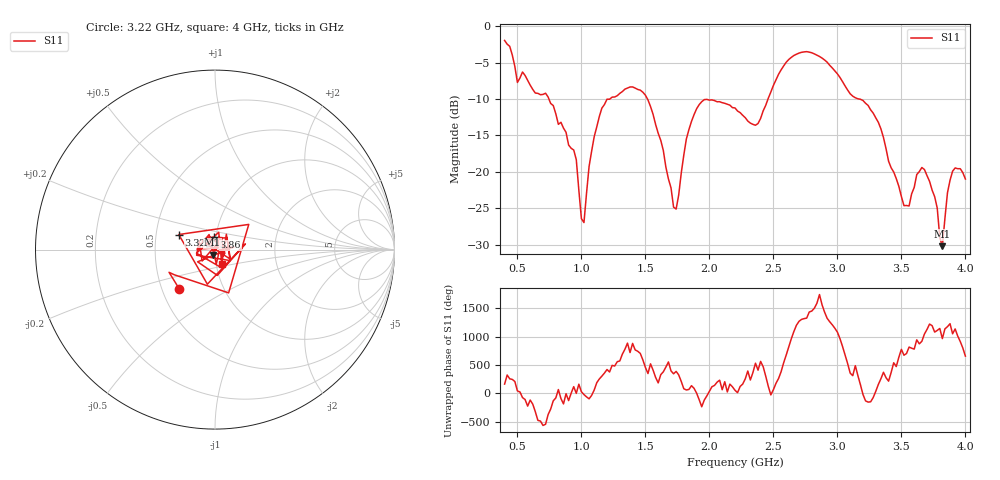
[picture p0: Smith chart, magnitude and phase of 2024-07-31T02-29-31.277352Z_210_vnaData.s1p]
!Created with skrf (http://scikit-rf.org).
# Hz S RI R 50.0
!freq ReS11 ImS11
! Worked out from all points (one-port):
!   181 points, 400 MHz to 4 GHz, reference 50 ohm
!   lowest |S11| = -30.2 dB at 3.82 GHz (marker M1), VSWR 1.06, Z = 48.6 - j2.69 ohm
!   |S11| at or under -10 dB: 746.2 MHz to 1.222 GHz (476 MHz wide, 48.4 % of centre); 1.516 GHz to 2.458 GHz (941.6 MHz wide, 47.4 % of centre); 3.17 GHz to end of sweep
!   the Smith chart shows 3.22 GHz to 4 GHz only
!   S11 on the Smith chart (normalised r, x): 3.22 GHz: 0.61, -0.29; 3.32 GHz: 0.66, +0.12; 3.86 GHz: 0.98, +0.14; 4 GHz: 1.06, -0.17
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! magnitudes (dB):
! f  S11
! 400 MHz  -2.0
! 500 MHz  -7.7
! 720 MHz  -9.2
! 860 MHz  -14.0
! 960 MHz  -18.3
! 1 GHz  -26.4
! 1.02 GHz  -27.0
! 1.06 GHz  -19.2
! 1.14 GHz  -12.4
! 1.3 GHz  -9.2
! 1.5 GHz  -9.5
! 1.72 GHz  -24.8
! 1.76 GHz  -23.2
! 1.82 GHz  -15.5
! 1.92 GHz  -10.8
! 2.2 GHz  -11.2
! 2.38 GHz  -13.4
! 2.66 GHz  -4.0
! 3.1 GHz  -9.3
! 3.22 GHz  -10.6
! 3.32 GHz  -13.2
! 3.56 GHz  -24.7
! 3.68 GHz  -19.7
! 3.76 GHz  -23.4
! 3.82 GHz  -30.2
! 3.86 GHz  -22.9
! 3.92 GHz  -19.5
! 4 GHz  -21.0
